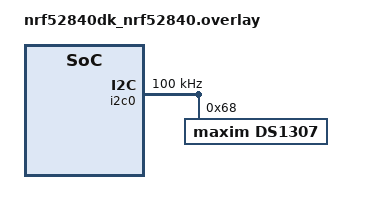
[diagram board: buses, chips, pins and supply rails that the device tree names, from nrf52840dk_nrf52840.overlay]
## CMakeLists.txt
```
cmake_minimum_required(VERSION 3.20.0)
find_package(Zephyr REQUIRED HINTS $ENV{ZEPHYR_BASE})

project(iic)

target_include_directories(app PRIVATE "includes")

target_sources(app PRIVATE 

"includes/iic/time.hpp"
"includes/iic/bus.hpp"

"src/iic/time.cpp"
"src/iic/bus.cpp"

"src/main.cpp")
```

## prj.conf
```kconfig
# configure language supprot and functions
CONFIG_CPP=y
CONFIG_REQUIRES_FULL_LIBCPP=y
CONFIG_REQUIRES_FULL_LIBC=y
CONFIG_STD_CPP20=y

# Enable the TWI (I2C) driver
CONFIG_I2C=y

# Enable logging (optional, useful for debugging)
CONFIG_LOG=y

# configure logging via rtt
CONFIG_LOG=y
CONFIG_LOG_BACKEND_RTT=y
CONFIG_LOG_MODE_IMMEDIATE=y
CONFIG_LOG_PRINTK=y
CONFIG_USE_SEGGER_RTT=y
CONFIG_LOG_BACKEND_UART=n


# configure available time functions
CONFIG_MINIMAL_LIBC_TIME=y
CONFIG_POSIX_CLOCK=y
```

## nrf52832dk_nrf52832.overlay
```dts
// To get started, press Ctrl+Space to bring up the completion menu and view the available nodes.

// You can also use the buttons in the sidebar to perform actions on nodes.
// Actions currently available include:

// * Enabling / disabling the node
// * Adding the bus to a bus
// * Removing the node
// * Connecting ADC channels

// For more help, browse the DeviceTree documentation at https://docs.zephyrproject.org/latest/guides/dts/index.html
// You can also visit the nRF DeviceTree extension documentation at https://docs.nordicsemi.com/bundle/nrf-connect-vscode/page/guides/ncs_configure_app.html#devicetree-support-in-the-extension

&i2c0 {
    compatible = "nordic,nrf-twim";
    clock-frequency = <100000>;
    status = "okay";
};
```

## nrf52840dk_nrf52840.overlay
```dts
// To get started, press Ctrl+Space to bring up the completion menu and view the available nodes.

// You can also use the buttons in the sidebar to perform actions on nodes.
// Actions currently available include:

// * Enabling / disabling the node
// * Adding the bus to a bus
// * Removing the node
// * Connecting ADC channels

// For more help, browse the DeviceTree documentation at https://docs.zephyrproject.org/latest/guides/dts/index.html
// You can also visit the nRF DeviceTree extension documentation at https://docs.nordicsemi.com/bundle/nrf-connect-vscode/page/guides/ncs_configure_app.html#devicetree-support-in-the-extension

&i2c0 {
    compatible = "nordic,nrf-twim";
    clock-frequency = <100000>;
	ds1307@68 {
		compatible = "maxim,ds1307";
		reg = <0x68>;
        status = "okay";
	};
    status = "okay";
    
};
```

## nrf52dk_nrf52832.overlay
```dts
// To get started, press Ctrl+Space to bring up the completion menu and view the available nodes.

// You can also use the buttons in the sidebar to perform actions on nodes.
// Actions currently available include:

// * Enabling / disabling the node
// * Adding the bus to a bus
// * Removing the node
// * Connecting ADC channels

// For more help, browse the DeviceTree documentation at https://docs.zephyrproject.org/latest/guides/dts/index.html
// You can also visit the nRF DeviceTree extension documentation at https://docs.nordicsemi.com/bundle/nrf-connect-vscode/page/guides/ncs_configure_app.html#devicetree-support-in-the-extension

&i2c0 {
    compatible = "nordic,nrf-twim";
    clock-frequency = <100000>;
    status = "okay";
};
```

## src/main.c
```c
#include <zephyr/kernel.h>
#include <zephyr/devicetree.h>
#include <zephyr/device.h>
#include <zephyr/drivers/i2c.h>

#include <zephyr/logging/log.h>

LOG_MODULE_REGISTER(app);

const struct device *i2c_dev = DEVICE_DT_GET(DT_NODELABEL(i2c0));

int main(void)
{
    if (!i2c_dev) {
        // Handle error
        LOG_ERR("I2C device not found");
        return -1;
    }
    LOG_INF("I2C device found");


    int ret = i2c_configure(i2c_dev, I2C_SPEED_SET(I2C_SPEED_STANDARD) | I2C_MODE_CONTROLLER);

    if (ret < 0) {
        // Handle error
        LOG_ERR("I2C configuration failed: %d", ret);
        return -1;
    }

    LOG_INF("I2C configured");

    // Write to the device
    // 0x00 is the register address

    // 0x00 is the data to write // time start
    // 1 is the length of the data // 1 byte
    // 0x68 is the address of the device // 1307
    uint8_t write_data[1] = {0x00};

    ret = i2c_write(i2c_dev, write_data, sizeof(write_data), 0x68);

    if (ret < 0) {
        // Handle error
        LOG_ERR("I2C write failed: %d", ret);
        return -1;
    }

    LOG_INF("I2C write successful");

    // Read from the device in burst mode
    uint8_t read_data[7];
    
    ret = i2c_read(i2c_dev, read_data, sizeof(read_data), 0x68);

    if (ret < 0) {
        // Handle error
        LOG_ERR("I2C read failed: %d", ret);
        return -1;
    }

    LOG_INF("I2C read successful");

    LOG_INF("0x00: %x", read_data[0]);
    LOG_INF("0x01: %x", read_data[1]);
    LOG_INF("0x02: %x", read_data[2]);
    LOG_INF("0x03: %x", read_data[3]);
    LOG_INF("0x04: %x", read_data[4]);
    LOG_INF("0x05: %x", read_data[5]);
    LOG_INF("0x06: %x", read_data[6]);



    return 0;
}
```

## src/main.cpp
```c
#include <zephyr/kernel.h>
#include <zephyr/devicetree.h>
#include <zephyr/device.h>
#include <zephyr/drivers/i2c.h>
#include <time.h>
#include <zephyr/logging/log.h>

#include "iic/bus.hpp"
#include "iic/time.hpp"

LOG_MODULE_REGISTER(app);

int main(void)

{
    if (iic::bus::setup() < 0)
    {
        LOG_ERR("I2C setup failed");
        return -1;
    }

    struct tm timeinfo;
    // Set the time components
    timeinfo.tm_year = 2025 - 1900; // Year since 1900
    timeinfo.tm_mon = 1 - 1;       // Month (0-11)
    timeinfo.tm_mday = 9;          // Day of the month (1-31)
    timeinfo.tm_hour = 16;          // Hour (0-23)
    timeinfo.tm_min = 17;           // Minutes (0-59)
    timeinfo.tm_sec = 0;           // Seconds (0-60, 60 for leap seconds)
    timeinfo.tm_isdst = 0;          // Daylight saving time flag (0 if not in effect)
    

    // if(iic::time::set_time(timeinfo)!= 0){
    //     LOG_ERR("Failed to set time");
    // }

    // LOG_INF("Time set successfully");

    while (1)
    {
        struct tm time = iic::time::get_current_time();
        LOG_INF("Current time: %d-%d-%d %d:%d:%d", time.tm_year + 1900, time.tm_mon + 1, time.tm_mday, time.tm_hour, time.tm_min, time.tm_sec);

        k_sleep(K_MSEC(1000));
    }

    return 0;
}
```
